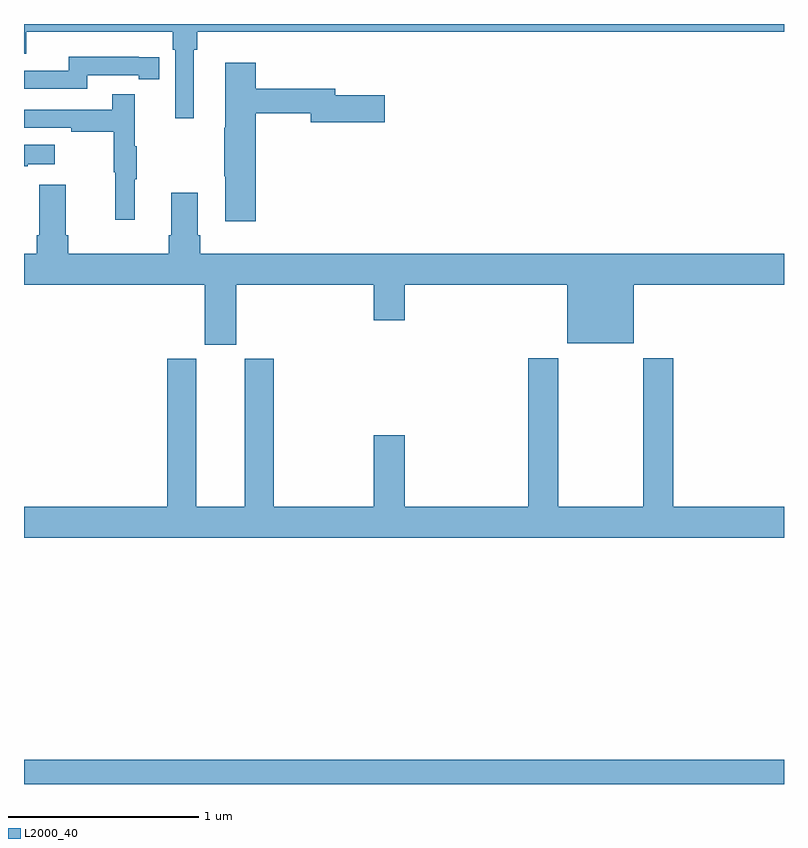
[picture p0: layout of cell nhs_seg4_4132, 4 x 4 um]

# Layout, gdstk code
import gdstk
lib = gdstk.Library(unit=1e-6, precision=1e-09)
def R(c, l, rs):  # rectangles x0, y0, x1, y1
    for r in rs: c.add(gdstk.rectangle(r[:2], r[2:], *l))
def P(c, l, *ps):  # polygons
    for p in ps: c.add(gdstk.Polygon(p, *l))
L2000_40 = (2000, 40)

nhs_seg4_4132 = lib.new_cell('nhs_seg4_4132')
R(nhs_seg4_4132, L2000_40, [(331,752.9,335,753.028)])
P(nhs_seg4_4132, L2000_40, [(331.894,756.764),(331.913,756.764),(331.913,756.86),(335,756.86),(335,756.9),(331,756.9),(331,756.743),(331.012,756.743),(331.012,756.86),(331.784,756.86),(331.784,756.764),(331.797,756.764),(331.797,756.405),(331.894,756.405)],
  [(331.332,756.63),(331.604,756.63),(331.604,756.61),(331.712,756.61),(331.712,756.726),(331.604,756.726),(331.604,756.727),(331.236,756.727),(331.236,756.654),(331,756.654),(331,756.558),(331.332,756.558)],
  [(332.219,756.43),(332.51,756.43),(332.51,756.383),(332.899,756.383),(332.899,756.525),(332.638,756.525),(332.638,756.559),(332.219,756.559),(332.219,756.697),(332.06,756.697),(332.06,756.353),(332.053,756.353),(332.053,756.1),(332.06,756.1),(332.06,755.862),(332.219,755.862)],
  [(331.583,756.083),(331.594,756.083),(331.594,756.257),(331.583,756.257),(331.583,756.529),(331.465,756.529),(331.465,756.45),(331,756.45),(331,756.354),(331.249,756.354),(331.249,756.334),(331.473,756.334),(331.473,756.12),(331.48,756.12),(331.48,755.871),(331.583,755.871)],
  [(331.019,756.161),(331.162,756.161),(331.162,756.265),(331,756.265),(331,756.151),(331.019,756.151)],
  [(332.116,755.528),(332.84,755.528),(332.84,755.34),(333.004,755.34),(333.004,755.528),(333.86,755.528),(333.86,755.219),(334.21,755.219),(334.21,755.528),(335,755.528),(335,755.692),(331.928,755.692),(331.928,755.788),(331.915,755.788),(331.915,756.013),(331.775,756.013),(331.775,755.788),(331.763,755.788),(331.763,755.692),(331.232,755.692),(331.232,755.788),(331.219,755.788),(331.219,756.055),(331.079,756.055),(331.079,755.788),(331.067,755.788),(331.067,755.692),(331,755.692),(331,755.528),(331.952,755.528),(331.952,755.211),(332.116,755.211)],
  [(335,754.36),(334.418,754.36),(334.418,755.14),(334.258,755.14),(334.258,754.36),(333.813,754.36),(333.813,755.14),(333.653,755.14),(333.653,754.36),(333.004,754.36),(333.004,754.735),(332.84,754.735),(332.84,754.36),(332.315,754.36),(332.315,755.139),(332.162,755.139),(332.162,754.36),(331.906,754.36),(331.906,755.139),(331.754,755.139),(331.754,754.36),(331,754.36),(331,754.196),(335,754.196)])

lib.write_gds('nhs_seg4_4132.gds')
